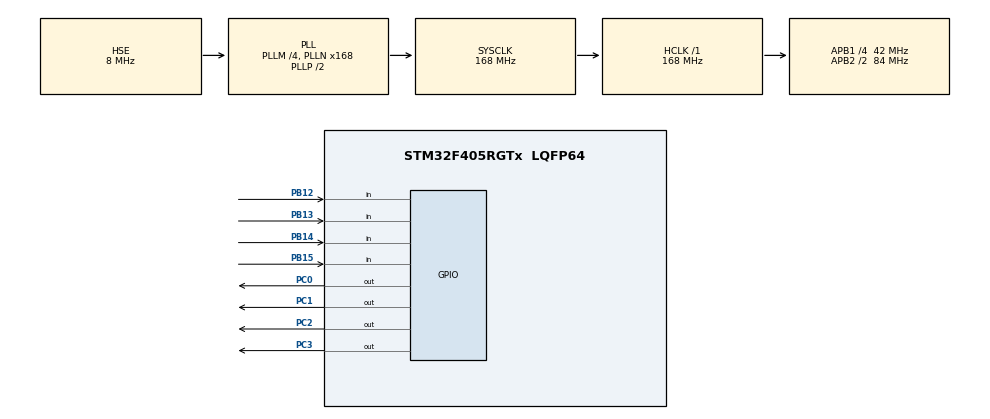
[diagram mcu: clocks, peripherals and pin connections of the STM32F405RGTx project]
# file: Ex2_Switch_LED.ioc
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Mcu.Family=STM32F4
Mcu.Name=STM32F405RGTx
Mcu.Package=LQFP64
NVIC.PriorityGroup=NVIC_PRIORITYGROUP_4
PA13.Mode=Serial_Wire
PA13.Signal=SYS_JTMS-SWDIO
PA14.Mode=Serial_Wire
PA14.Signal=SYS_JTCK-SWCLK
PB12.Signal=GPIO_Input
PB13.Signal=GPIO_Input
PB14.Signal=GPIO_Input
PB15.Signal=GPIO_Input
PC0.Signal=GPIO_Output
PC1.Signal=GPIO_Output
PC2.Signal=GPIO_Output
PC3.Signal=GPIO_Output
PH0-OSC_IN.Mode=HSE-External-Oscillator
PH0-OSC_IN.Signal=RCC_OSC_IN
PH1-OSC_OUT.Mode=HSE-External-Oscillator
PH1-OSC_OUT.Signal=RCC_OSC_OUT
ProjectManager.HeapSize=0x200
ProjectManager.StackSize=0x400
ProjectManager.TargetToolchain=EWARM V8.32
RCC.48MHZClocksFreq_Value=84000000
RCC.AHBFreq_Value=168000000
RCC.APB1CLKDivider=RCC_HCLK_DIV4
RCC.APB1Freq_Value=42000000
RCC.APB1TimFreq_Value=84000000
RCC.APB2CLKDivider=RCC_HCLK_DIV2
RCC.APB2Freq_Value=84000000
RCC.APB2TimFreq_Value=168000000
RCC.CortexFreq_Value=168000000
RCC.HCLKFreq_Value=168000000
RCC.HSE_VALUE=8000000
RCC.HSI_VALUE=16000000
RCC.LSE_VALUE=32768
RCC.PLLM=4
RCC.PLLN=168
RCC.PLLSourceVirtual=RCC_PLLSOURCE_HSE
RCC.SYSCLKFreq_VALUE=168000000
RCC.SYSCLKSource=RCC_SYSCLKSOURCE_PLLCLK
RCC.VCOOutputFreq_Value=336000000
board=custom

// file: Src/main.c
/* USER CODE BEGIN Header */
/**
  ******************************************************************************
  * @file           : main.c
  * @brief          : Main program body
  ******************************************************************************
  * @attention
  *
  * <h2><center>&copy; Copyright (c) 2020 STMicroelectronics.
  * All rights reserved.</center></h2>
  *
  * This software component is licensed by ST under BSD 3-Clause license,
  * the "License"; You may not use this file except in compliance with the
  * License. You may obtain a copy of the License at:
  *                        opensource.org/licenses/BSD-3-Clause
  *
  ******************************************************************************
  */
/* USER CODE END Header */

#include "main.h"
#include "gpio.h"

void SystemClock_Config(void);

int main(void)
{

  /* MCU Configuration--------------------------------------------------------*/

  /* Reset of all peripherals, Initializes the Flash interface and the Systick. */
  HAL_Init();

  /* Configure the system clock */
  SystemClock_Config();

  /* Initialize all configured peripherals */
  MX_GPIO_Init();

  /* Infinite loop */
  /* USER CODE BEGIN WHILE */
  while (1)
  {
    if(HAL_GPIO_ReadPin(GPIOB, GPIO_PIN_12) == 1){
      HAL_GPIO_WritePin(GPIOC, GPIO_PIN_0, GPIO_PIN_SET);
      HAL_GPIO_WritePin(GPIOC, GPIO_PIN_1, GPIO_PIN_RESET);
      HAL_GPIO_WritePin(GPIOC, GPIO_PIN_2, GPIO_PIN_RESET);
      HAL_GPIO_WritePin(GPIOC, GPIO_PIN_3, GPIO_PIN_RESET);
    }
    // 좀더 그럴듯 하게 하자면
    // HAL_GPIO_TogglePine(GPIOC, GPIO_PIN_0);
    // Delay(1000); 이렇게 해도됨
    // GPIO_PIN_0(HAL_GPIO_ReadPin에) << 12등..
    // HAL_GPIO_ReadPin(GPIOB & 사용해도 가능)<<이걸로
    // HAL_GPIO_WritePin(GPIOC, GPIO_PIN_0, HAL_GPIO_ReadPin(GPIOB, GPIO_PIN_12)) 이것도 가능;
    else if(HAL_GPIO_ReadPin(GPIOB, GPIO_PIN_13) == 1){
      HAL_GPIO_WritePin(GPIOC, GPIO_PIN_0, GPIO_PIN_RESET);
      HAL_GPIO_WritePin(GPIOC, GPIO_PIN_1, GPIO_PIN_SET);
      HAL_GPIO_WritePin(GPIOC, GPIO_PIN_2, GPIO_PIN_RESET);
      HAL_GPIO_WritePin(GPIOC, GPIO_PIN_3, GPIO_PIN_RESET);
    }

    else if(HAL_GPIO_ReadPin(GPIOB, GPIO_PIN_14) == 1){
      HAL_GPIO_WritePin(GPIOC, GPIO_PIN_0, GPIO_PIN_RESET);
      HAL_GPIO_WritePin(GPIOC, GPIO_PIN_1, GPIO_PIN_RESET);
      HAL_GPIO_WritePin(GPIOC, GPIO_PIN_2, GPIO_PIN_SET);
      HAL_GPIO_WritePin(GPIOC, GPIO_PIN_3, GPIO_PIN_RESET);
    }

    else if(HAL_GPIO_ReadPin(GPIOB, GPIO_PIN_15) == 1){
      HAL_GPIO_WritePin(GPIOC, GPIO_PIN_0, GPIO_PIN_RESET);
      HAL_GPIO_WritePin(GPIOC, GPIO_PIN_1, GPIO_PIN_RESET);
      HAL_GPIO_WritePin(GPIOC, GPIO_PIN_2, GPIO_PIN_RESET);
      HAL_GPIO_WritePin(GPIOC, GPIO_PIN_3, GPIO_PIN_SET);
    }
    /* USER CODE END WHILE */

  }
}

void SystemClock_Config(void)
{
  RCC_OscInitTypeDef RCC_OscInitStruct = {0};
  RCC_ClkInitTypeDef RCC_ClkInitStruct = {0};

  /** Configure the main internal regulator output voltage
  */
  __HAL_RCC_PWR_CLK_ENABLE();
  __HAL_PWR_VOLTAGESCALING_CONFIG(PWR_REGULATOR_VOLTAGE_SCALE1);
  /** Initializes the CPU, AHB and APB busses clocks
  */
  RCC_OscInitStruct.OscillatorType = RCC_OSCILLATORTYPE_HSE;
  RCC_OscInitStruct.HSEState = RCC_HSE_ON;
  RCC_OscInitStruct.PLL.PLLState = RCC_PLL_ON;
  RCC_OscInitStruct.PLL.PLLSource = RCC_PLLSOURCE_HSE;
  RCC_OscInitStruct.PLL.PLLM = 4;
  RCC_OscInitStruct.PLL.PLLN = 168;
  RCC_OscInitStruct.PLL.PLLP = RCC_PLLP_DIV2;
  RCC_OscInitStruct.PLL.PLLQ = 4;
  if (HAL_RCC_OscConfig(&RCC_OscInitStruct) != HAL_OK)
  {
    Error_Handler();
  }
  /** Initializes the CPU, AHB and APB busses clocks
  */
  RCC_ClkInitStruct.ClockType = RCC_CLOCKTYPE_HCLK|RCC_CLOCKTYPE_SYSCLK
                              |RCC_CLOCKTYPE_PCLK1|RCC_CLOCKTYPE_PCLK2;
  RCC_ClkInitStruct.SYSCLKSource = RCC_SYSCLKSOURCE_PLLCLK;
  RCC_ClkInitStruct.AHBCLKDivider = RCC_SYSCLK_DIV1;
  RCC_ClkInitStruct.APB1CLKDivider = RCC_HCLK_DIV4;
  RCC_ClkInitStruct.APB2CLKDivider = RCC_HCLK_DIV2;

  if (HAL_RCC_ClockConfig(&RCC_ClkInitStruct, FLASH_LATENCY_5) != HAL_OK)
  {
    Error_Handler();
  }
}

void Error_Handler(void)
{
}

/************************ (C) COPYRIGHT STMicroelectronics *****END OF FILE****/
